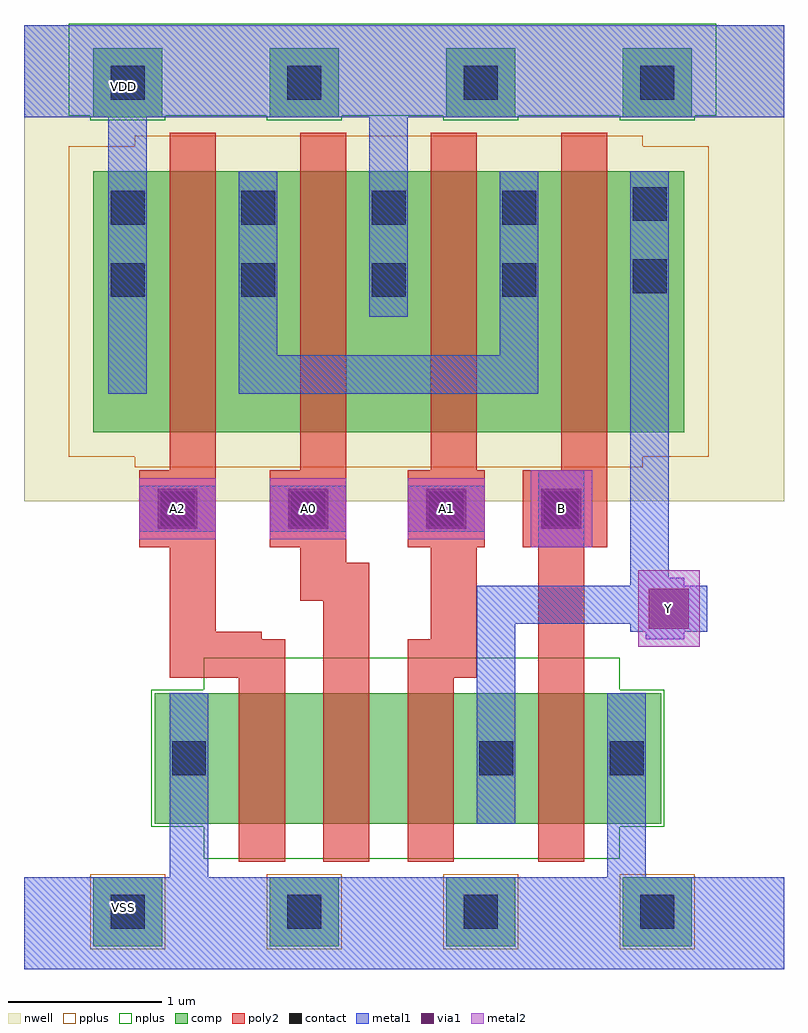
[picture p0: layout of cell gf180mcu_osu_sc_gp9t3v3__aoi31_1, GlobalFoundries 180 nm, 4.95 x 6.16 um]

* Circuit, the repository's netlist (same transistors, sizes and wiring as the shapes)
* Copyright 2022 Google LLC
*
* Licensed under the Apache License, Version 2.0 (the "License");
* you may not use this file except in compliance with the License.
* You may obtain a copy of the License at
*
*      http://www.apache.org/licenses/LICENSE-2.0
*
* Unless required by applicable law or agreed to in writing, software
* distributed under the License is distributed on an "AS IS" BASIS,
* WITHOUT WARRANTIES OR CONDITIONS OF ANY KIND, either express or implied.
* See the License for the specific language governing permissions and
* limitations under the License.

.option scale=0.05u

.subckt gf180mcu_osu_sc_gp9t3v3__aoi31_1 Y A0 A1 B A2
X0 VDD A0 a_25_70 VDD pmos_3p3 w=34 l=6
X1 VSS B Y VSS nmos_3p3 w=17 l=6
X2 Y A1 a_45_19 VSS nmos_3p3 w=17 l=6
X3 a_25_70 A1 VDD VDD pmos_3p3 w=34 l=6
X4 a_25_70 A2 VDD VDD pmos_3p3 w=34 l=6
X5 a_34_19 A2 VSS VSS nmos_3p3 w=17 l=6
X6 a_45_19 A0 a_34_19 VSS nmos_3p3 w=17 l=6
X7 Y B a_25_70 VDD pmos_3p3 w=34 l=6
.ends

** hspice subcircuit dictionary

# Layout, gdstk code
import gdstk
lib = gdstk.Library(unit=1e-6, precision=1e-09)
def R(c, l, rs):  # rectangles x0, y0, x1, y1
    for r in rs: c.add(gdstk.rectangle(r[:2], r[2:], *l))
def A(c, l, x, y, w, h, nx, ny, dx, dy):  # array of equal rectangles
    R(c, l, [(x+i*dx, y+j*dy, x+i*dx+w, y+j*dy+h) for i in range(nx) for j in range(ny)])
nwell = (21, 0)
comp = (22, 0)
poly2 = (30, 0)
pplus = (31, 0)
nplus = (32, 0)
contact = (33, 0)
metal1 = (34, 0)
via1 = (35, 0)
metal2 = (36, 0)

gf180mcu_osu_sc_gp9t3v3_ = lib.new_cell('gf180mcu_osu_sc_gp9t3v3__aoi31_1')
R(gf180mcu_osu_sc_gp9t3v3_, nwell, [(0,3.05,4.95,6.15)])
A(gf180mcu_osu_sc_gp9t3v3_, comp, 0.45, 0.15, 0.45, 0.45, 4, 2, 1.15, 5.4)
R(gf180mcu_osu_sc_gp9t3v3_, comp, [(0.85,0.95,4.15,1.8), (0.45,3.5,4.3,5.2)])
A(gf180mcu_osu_sc_gp9t3v3_, poly2, 0.95, 3.25, 0.3, 2.2, 4, 1, 0.85, 0)
R(gf180mcu_osu_sc_gp9t3v3_, poly2, [(1.4,0.7,1.7,1.9), (1.95,0.7,2.25,2.4), (2.5,0.7,2.8,1.9), (3.35,0.7,3.65,2.75), (0.95,1.9,1.7,2.15), (2.5,1.9,2.95,2.15), (0.95,2.15,1.55,2.2), (2.65,2.15,2.95,2.75), (0.95,2.2,1.25,2.75), (1.8,2.4,2.25,2.65), (1.8,2.65,2.1,2.75), (0.75,2.75,1.25,3.25), (1.6,2.75,2.1,3.25), (2.5,2.75,3,3.25), (3.25,2.75,3.8,3.25)])
A(gf180mcu_osu_sc_gp9t3v3_, pplus, 0.43, 0.13, 0.49, 0.49, 4, 1, 1.15, 0)
R(gf180mcu_osu_sc_gp9t3v3_, pplus, [(0.72,3.27,4.03,3.34), (0.29,3.34,4.46,5.36), (0.72,5.36,4.03,5.43)])
A(gf180mcu_osu_sc_gp9t3v3_, nplus, 0.43, 5.53, 0.49, 0.03, 4, 1, 1.15, 0)
R(gf180mcu_osu_sc_gp9t3v3_, nplus, [(1.17,0.72,3.88,0.93), (0.83,0.93,4.17,1.82), (1.17,1.82,3.88,2.03), (0.29,5.56,4.51,6.16)])
A(gf180mcu_osu_sc_gp9t3v3_, contact, 0.565, 0.265, 0.22, 0.22, 4, 2, 1.15, 5.4)
A(gf180mcu_osu_sc_gp9t3v3_, contact, 0.565, 4.38, 0.22, 0.22, 4, 2, 0.85, 0.47)
R(gf180mcu_osu_sc_gp9t3v3_, contact, [(0.965,1.265,1.185,1.485), (2.965,1.265,3.185,1.485), (3.815,1.265,4.035,1.485), (0.89,2.89,1.11,3.11), (1.74,2.89,1.96,3.11), (2.64,2.89,2.86,3.11), (3.39,2.89,3.61,3.11), (3.965,4.405,4.185,4.625), (3.965,4.875,4.185,5.095)])
R(gf180mcu_osu_sc_gp9t3v3_, metal1, [(0,0,4.95,0.6), (0.95,0.6,1.2,1.8), (3.8,0.6,4.05,1.8), (2.95,0.95,3.2,2.25), (4.05,2.15,4.3,2.2), (3.95,2.2,4.45,2.25), (2.95,2.25,4.45,2.5), (3.95,2.5,4.3,2.55), (3.95,2.55,4.2,5.2), (3.35,2.75,3.65,3.25), (0.75,2.85,1.25,3.15), (1.6,2.85,2.1,3.15), (2.5,2.85,3,3.15), (0.55,3.75,0.8,5.55), (1.4,3.75,3.35,4), (1.4,4,1.65,5.2), (3.1,4,3.35,5.2), (2.25,4.25,2.5,5.55), (0,5.55,4.95,6.15)])
R(gf180mcu_osu_sc_gp9t3v3_, via1, [(4.07,2.22,4.33,2.48), (0.87,2.87,1.13,3.13), (1.72,2.87,1.98,3.13), (2.62,2.87,2.88,3.13), (3.37,2.87,3.63,3.13)])
R(gf180mcu_osu_sc_gp9t3v3_, metal2, [(4,2.1,4.4,2.6), (3.3,2.75,3.7,3.25), (0.75,2.8,1.25,3.2), (1.6,2.8,2.1,3.2), (2.5,2.8,3,3.2)])
gf180mcu_osu_sc_gp9t3v3_.add(gdstk.Label('VDD', (0.65,5.75), layer=34, texttype=0))
gf180mcu_osu_sc_gp9t3v3_.add(gdstk.Label('VSS', (0.65,0.4), layer=34, texttype=0))
gf180mcu_osu_sc_gp9t3v3_.add(gdstk.Label('Y', (4.2,2.35), layer=36, texttype=10))
gf180mcu_osu_sc_gp9t3v3_.add(gdstk.Label('A0', (1.85,3), layer=36, texttype=10))
gf180mcu_osu_sc_gp9t3v3_.add(gdstk.Label('A1', (2.75,3), layer=36, texttype=10))
gf180mcu_osu_sc_gp9t3v3_.add(gdstk.Label('B', (3.5,3), layer=36, texttype=10))
gf180mcu_osu_sc_gp9t3v3_.add(gdstk.Label('A2', (1,3), layer=36, texttype=10))

lib.write_gds('gf180mcu_osu_sc_gp9t3v3__aoi31_1.gds')
